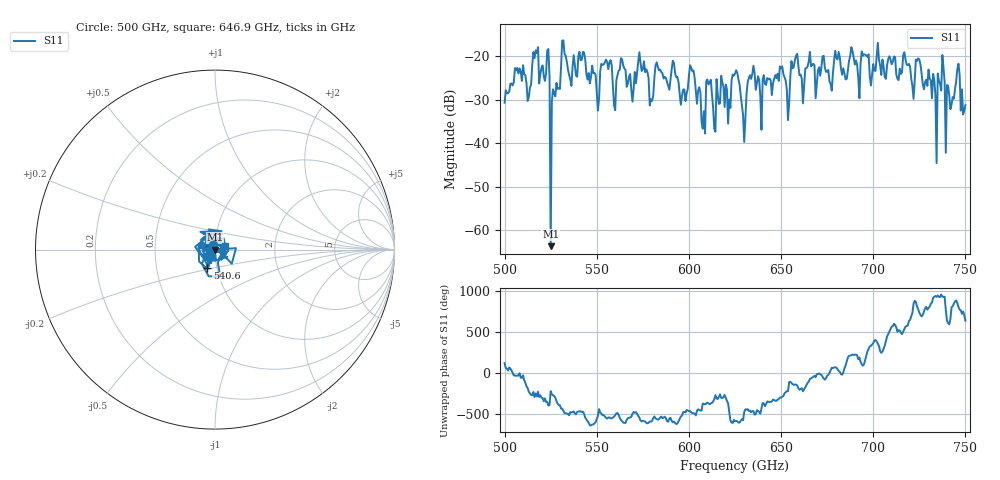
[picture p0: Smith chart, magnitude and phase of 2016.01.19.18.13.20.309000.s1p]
!Created with skrf (http://scikit-rf.org).
# GHz S RI R 50.0
!freq ReS11 ImS11
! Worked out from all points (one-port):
!   401 points, 500 GHz to 750 GHz, reference 50 ohm
!   lowest |S11| = -63.7 dB at 525 GHz (marker M1), VSWR 1.00, Z = 50 + j0.0452 ohm
!   |S11| at or under -10 dB: start of sweep to end of sweep
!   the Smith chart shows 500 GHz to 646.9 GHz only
!   S11 on the Smith chart (normalised r, x): 500 GHz: 0.97, +0.05; 540.6 GHz: 0.90, -0.19; 646.9 GHz: 1.12, +0.04
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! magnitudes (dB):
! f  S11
! 500 GHz  -30.7
! 506.9 GHz  -22.6
! 513.1 GHz  -29.4
! 516.9 GHz  -18.6
! 523.1 GHz  -18.6
! 525 GHz  -63.7
! 531.2 GHz  -16.3
! 540.6 GHz  -18.9
! 550 GHz  -28.5
! 562.5 GHz  -23.0
! 593.8 GHz  -24.7
! 601.9 GHz  -23.4
! 607.5 GHz  -36.6
! 610.6 GHz  -26.4
! 614.4 GHz  -37.3
! 625 GHz  -24.0
! 629.4 GHz  -33.5
! 633.8 GHz  -25.2
! 646.9 GHz  -24.3
! 653.8 GHz  -34.7
! 656.2 GHz  -22.7
! 687.5 GHz  -19.9
! 718.8 GHz  -22.0
! 733.1 GHz  -25.4
! 737.5 GHz  -19.7
! 740.6 GHz  -26.8
! 745.6 GHz  -22.9
! 750 GHz  -31.2
